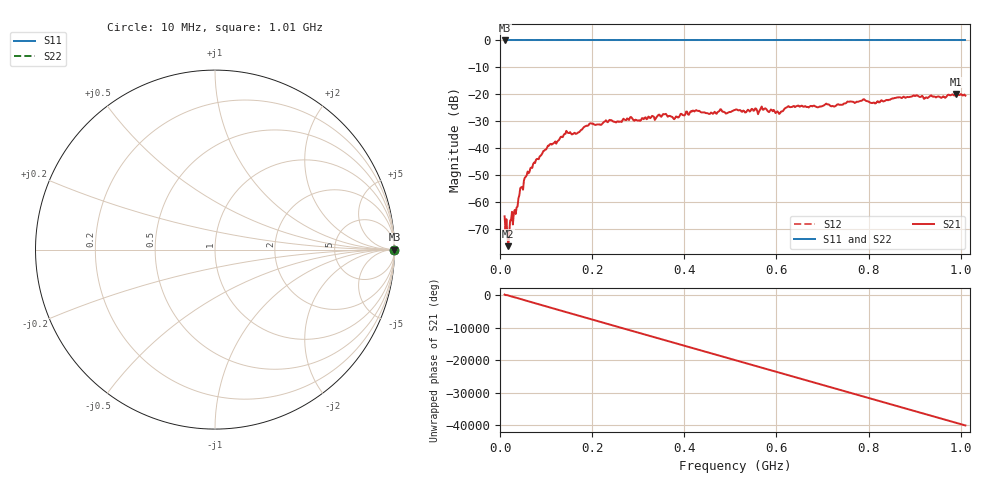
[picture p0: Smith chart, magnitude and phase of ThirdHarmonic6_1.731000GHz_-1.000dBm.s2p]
! 8/16/2025 8:51:19 PM
! C:\ANRITSUVNA\TEMP\TEMP.S2P
! CHANNEL.1
! TR.MEASUREMENT
! RAW.DATA
! RF.CORRECTION.OFF
! AVERAGING.OFF
! IF.BANDWIDTH: 5KHZ
! SWEEPTYPE:  FREQ.SWEEP(Linear)
! Reference Plane Port Info
! PORT:  PORT1  PORT2
! DISTANCE:  0  m  0  m
! TIME:  0  s  0  s
! PHASE.OFFSET:  0  deg.  0  deg.
! LOSS:  0  dB  0  dB
! REF.LOSS:  0  dB  0  dB
! REF.FREQ:  0  Hz  0  Hz
! Power Info
! POWER:  -20  dBm  -20  dBm
! EFF.POWER:  -20  dBm  -20  dBm
! SOURCE.ATTEN:  0  dB  0  dB
! TEST.ATTEN:  0  dB  0  dB
# GHZ S RI R 50.0
! FREQ.GHZ  S11RE  S11IM  S21RE  S21IM  S12RE  S12IM  S22RE  S22IM
!; PortSelection: Port_12
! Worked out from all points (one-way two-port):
!   501 points, 10 MHz to 1.01 GHz, reference 50 ohm
!   highest |S21| = -19.91 dB at 990 MHz (marker M1); lowest = -76.6 dB at 18 MHz (marker M2)
!   lowest |S11| = 0.0 dB at 10 MHz (marker M3)
!   |S11| at or under -10 dB: nowhere
!   |S22| runs from 0.0 to 0.0 dB; largest |S21 - S12| = 1.1
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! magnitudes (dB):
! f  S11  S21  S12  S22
! 10 MHz  0.0  -65.5  0.0  0.0
! 16 MHz  0.0  -72.4  0.0  0.0
! 18 MHz  0.0  -76.6  0.0  0.0
! 32 MHz  0.0  -63.1  0.0  0.0
! 44 MHz  0.0  -55.0  0.0  0.0
! 56 MHz  0.0  -50.7  0.0  0.0
! 76 MHz  0.0  -45.6  0.0  0.0
! 106 MHz  0.0  -39.2  0.0  0.0
! 142 MHz  0.0  -34.7  0.0  0.0
! 178 MHz  0.0  -33.1  0.0  0.0
! 198 MHz  0.0  -30.9  0.0  0.0
! 344 MHz  0.0  -27.7  0.0  0.0
! 380 MHz  0.0  -28.9  0.0  0.0
! 422 MHz  0.0  -26.4  0.0  0.0
! 510 MHz  0.0  -25.9  0.0  0.0
! 572 MHz  0.0  -25.8  0.0  0.0
! 604 MHz  0.0  -26.8  0.0  0.0
! 624 MHz  0.0  -24.7  0.0  0.0
! 678 MHz  0.0  -24.5  0.0  0.0
! 844 MHz  0.0  -22.1  0.0  0.0
! 990 MHz  0.0  -19.9  0.0  0.0
! 1.01 GHz  0.0  -20.5  0.0  0.0
